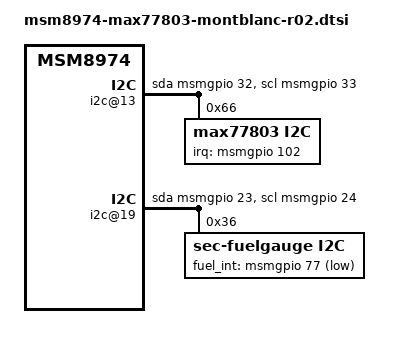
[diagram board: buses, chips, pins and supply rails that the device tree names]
/* Copyright (c) 2012, The Linux Foundation. All rights reserved.
 *
 * This program is free software; you can redistribute it and/or modify
 * it under the terms of the GNU General Public License version 2 and
 * only version 2 as published by the Free Software Foundation.
 *
 * This program is distributed in the hope that it will be useful,
 * but WITHOUT ANY WARRANTY; without even the implied warranty of
 * MERCHANTABILITY or FITNESS FOR A PARTICULAR PURPOSE.  See the
 * GNU General Public License for more details.
 */

/ {
	i2c@13 {
		cell-index = <13>;
		compatible = "i2c-gpio";
		gpios = <&msmgpio 32 0 /* sda */
			 &msmgpio 33 0 /* scl */
			 >;
		i2c-gpio,delay-us = <2>;
		#address-cells = <1>;
		#size-cells = <0>;

		max77803@66 {
			compatible = "max77803,i2c";
			reg = <0x66>;
			interrupt-parent = <&msmgpio>;
			interrupts = <102 0>;
			max77803,irq-gpio = <&msmgpio 102 0x00>;
			max77803,irq-base = <353>;
			max77803,wc-irq-gpio = <0>;
			max77803,wakeup = <1>;
		};
	};

	i2c@19 {
		compatible = "i2c-gpio";
		gpios = <&msmgpio 23 0 /* sda */
		&msmgpio 24 0 /* scl */
		>;
		i2c-gpio,sda-open-drain;
		i2c-gpio,scl-open-drain;
		#address-cells = <1>;
		#size-cells = <0>;
		sec-fuelgauge@36 {
			compatible = "sec-fuelgauge,i2c";
			reg = <0x36>;
			fuelgauge,fuel_int = <&msmgpio 77 0x1>;
			fuelgauge,capacity_max = <1000>;
			fuelgauge,capacity_max_margin = <50>;
			fuelgauge,capacity_min = <0>;
			fuelgauge,capacity_calculation_type = <7>;
			fuelgauge,fuel_alert_soc = <2>;

			fuelgauge,rcomp0 = <0x7b>;
			fuelgauge,rcomp_charging = <0x79>;
			fuelgauge,temp_cohot = <0xFFFFFCAE>; /* -850 */
			fuelgauge,temp_cocold = <0xFFFFEF98>;/* -4200 */
			fuelgauge,is_using_model_data;
			fuelgauge,type_str = "SDI";
		};
	};
};
